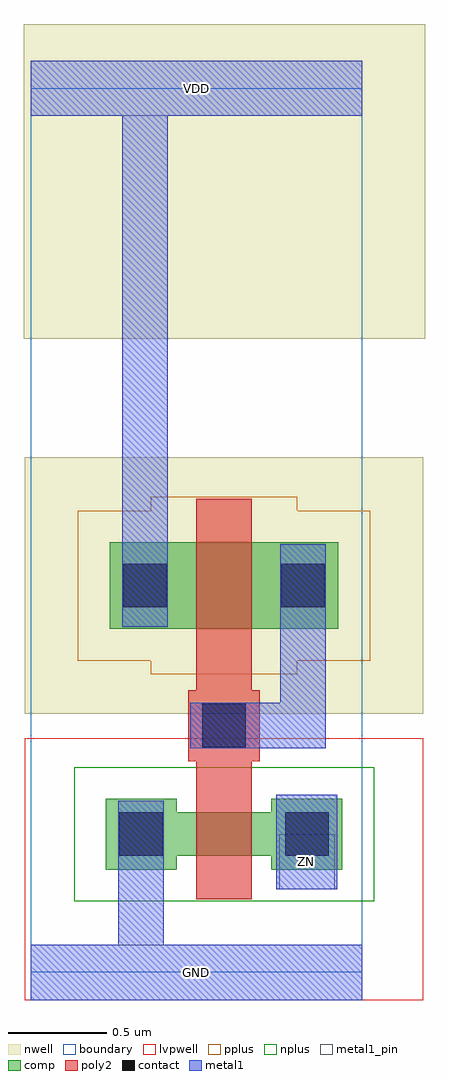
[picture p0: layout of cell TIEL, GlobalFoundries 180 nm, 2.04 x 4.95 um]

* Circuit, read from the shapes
.subckt TIEL GND VDD ZN
XM1 ZN n1 GND VSUBS nfet_03v3 w=0.22u l=0.28u
XM2 n1 n1 VDD n2 pfet_03v3 w=0.44u l=0.28u
.ends

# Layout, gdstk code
import gdstk
lib = gdstk.Library(unit=1e-6, precision=1e-09)
def R(c, l, rs):  # rectangles x0, y0, x1, y1
    for r in rs: c.add(gdstk.rectangle(r[:2], r[2:], *l))
boundary = (0, 0)
nwell = (21, 0)
comp = (22, 0)
poly2 = (30, 0)
pplus = (31, 0)
nplus = (32, 0)
contact = (33, 0)
metal1 = (34, 0)
metal1_pin = (34, 10)
lvpwell = (204, 0)

tiel = lib.new_cell('TIEL')
R(tiel, boundary, [(0,0,1.68,4.48)])
R(tiel, nwell, [(-0.03,1.31,1.99,2.61), (-0.035,3.21,2,4.805)])
R(tiel, comp, [(0.38,0.52,0.74,0.59), (1.22,0.52,1.58,0.59), (0.38,0.59,1.58,0.81), (0.38,0.81,0.74,0.88), (1.22,0.81,1.58,0.88), (0.4,1.74,1.56,2.18)])
R(tiel, poly2, [(0.84,0.37,1.12,1.07), (0.8,1.07,1.16,1.43), (0.84,1.43,1.12,2.4)])
R(tiel, pplus, [(0.61,1.51,1.35,1.58), (0.24,1.58,1.72,2.34), (0.61,2.34,1.35,2.41)])
R(tiel, nplus, [(0.22,0.36,1.74,1.04)])
R(tiel, contact, [(0.45,0.59,0.67,0.81), (1.29,0.59,1.51,0.81), (0.87,1.14,1.09,1.36), (0.47,1.85,0.69,2.07), (1.27,1.85,1.49,2.07)])
R(tiel, metal1, [(0,-0.14,1.68,0.14), (0.445,0.14,0.675,0.87), (1.245,0.42,1.555,0.9), (0.81,1.135,1.495,1.365), (1.265,1.365,1.495,2.17), (0.465,1.75,0.695,4.34), (0,4.34,1.68,4.62)])
R(tiel, metal1_pin, [(0,-0.14,1.68,0.14), (1.26,0.42,1.54,0.7), (0,4.34,1.68,4.62)])
R(tiel, lvpwell, [(-0.03,-0.14,1.99,1.185)])
tiel.add(gdstk.Label('VDD', (0.84,4.48), layer=34, texttype=10))
tiel.add(gdstk.Label('GND', (0.84,0), layer=34, texttype=10))
tiel.add(gdstk.Label('ZN', (1.4,0.56), layer=34, texttype=10))

lib.write_gds('TIEL.gds')
